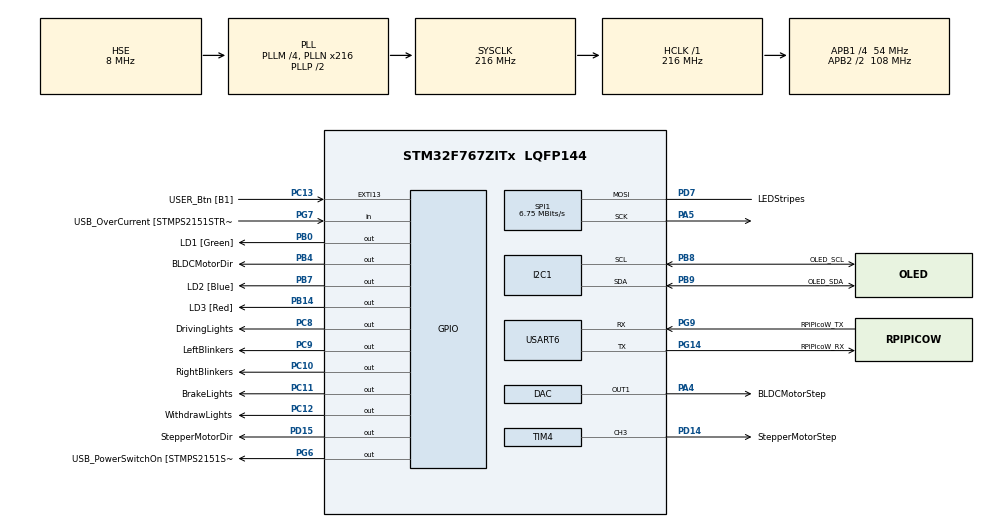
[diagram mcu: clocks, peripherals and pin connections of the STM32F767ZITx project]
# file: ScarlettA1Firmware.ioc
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Dma.Request0=SPI1_TX
Dma.SPI1_TX.0.Direction=DMA_MEMORY_TO_PERIPH
Dma.SPI1_TX.0.FIFOMode=DMA_FIFOMODE_DISABLE
Dma.SPI1_TX.0.Instance=DMA2_Stream3
Dma.SPI1_TX.0.MemDataAlignment=DMA_MDATAALIGN_BYTE
Dma.SPI1_TX.0.MemInc=DMA_MINC_ENABLE
Dma.SPI1_TX.0.Mode=DMA_NORMAL
Dma.SPI1_TX.0.PeriphDataAlignment=DMA_PDATAALIGN_BYTE
Dma.SPI1_TX.0.PeriphInc=DMA_PINC_DISABLE
Dma.SPI1_TX.0.Priority=DMA_PRIORITY_LOW
FREERTOS.Tasks01=OLEDTask,8,128,StartOLEDTask,Default,NULL,Dynamic,NULL,NULL;DispatcherTask,40,128,StartDispatcherTask,Default,NULL,Dynamic,NULL,NULL;StopTask,24,128,StartStopTask,Default,NULL,Dynamic,NULL,NULL;DrivingLightsTa,24,128,StartDrivingLightsTask,Default,NULL,Dynamic,NULL,NULL;LEDStripesTask,24,128,StartLEDStripesTask,Default,NULL,Dynamic,NULL,NULL;LeftBlinkersTas,24,128,StartLeftBlinkersTask,Default,NULL,Dynamic,NULL,NULL;RightBlinkersTa,24,128,StartRightBlinkersTask,Default,NULL,Dynamic,NULL,NULL;ParkLeftTask,24,128,StartParkLeftTask,Default,NULL,Dynamic,NULL,NULL;ParkRightTask,24,128,StartParkRightTask,Default,NULL,Dynamic,NULL,NULL;AccelerateTask,24,128,StartAccelerateTask,Default,NULL,Dynamic,NULL,NULL;DecelerateTask,24,128,StartDecelerateTask,Default,NULL,Dynamic,NULL,NULL;TurnLeftTask,32,128,StartTurnLeftTask,Default,NULL,Dynamic,NULL,NULL;TurnRightTask,32,128,StartTurnRightTask,Default,NULL,Dynamic,NULL,NULL;ConnectionTask,24,128,StartConnectionTask,Default,NULL,Dynamic,NULL,NULL;BrakeLightsTask,24,128,StartBrakeLightsTask,Default,NULL,Dynamic,NULL,NULL;WithdrawLightsT,24,128,StartWithdrawLightsTask,Default,NULL,Dynamic,NULL,NULL;ResumeFromStopT,24,128,StartResumeFromStopTask,Default,NULL,Dynamic,NULL,NULL
FREERTOS.Timers01=ConnectionTaskTimer,CallbackConnectionTaskTimer,osTimerOnce,Default,NULL,Dynamic,NULL
FREERTOS.configUSE_NEWLIB_REENTRANT=1
I2C1.Timing=0x20404768
Mcu.Family=STM32F7
Mcu.Name=STM32F767ZITx
Mcu.Package=LQFP144
NVIC.DMA2_Stream3_IRQn=true\:5\:0\:false\:false\:true\:true\:false\:true\:true
NVIC.PriorityGroup=NVIC_PRIORITYGROUP_4
NVIC.TIM6_DAC_IRQn=true\:5\:0\:false\:false\:true\:false\:false\:true\:true
NVIC.TimeBase=TIM6_DAC_IRQn
NVIC.TimeBaseIP=TIM6
NVIC.USART6_IRQn=true\:5\:0\:false\:false\:true\:true\:true\:true\:true
PA1.GPIO_Label=RMII_REF_CLK [LAN8742A-CZ-TR_REFCLK0]
PA1.Signal=ETH_REF_CLK
PA10.GPIO_Label=USB_ID
PA10.Signal=USB_OTG_FS_ID
PA11.GPIO_Label=USB_DM
PA11.Signal=USB_OTG_FS_DM
PA12.GPIO_Label=USB_DP
PA12.Signal=USB_OTG_FS_DP
PA13.GPIO_Label=TMS
PA13.Signal=SYS_JTMS-SWDIO
PA14.GPIO_Label=TCK
PA14.Signal=SYS_JTCK-SWCLK
PA2.GPIO_Label=RMII_MDIO [LAN8742A-CZ-TR_MDIO]
PA2.Signal=ETH_MDIO
PA4.GPIO_Label=BLDCMotorStep
PA4.Signal=COMP_DAC1_group
PA5.Mode=Simplex_Bidirectional_Master
PA5.Signal=SPI1_SCK
PA7.GPIO_Label=RMII_CRS_DV [LAN8742A-CZ-TR_CRS_DV]
PA7.Signal=ETH_CRS_DV
PA8.GPIO_Label=USB_SOF [TP1]
PA8.Signal=USB_OTG_FS_SOF
PA9.GPIO_Label=USB_VBUS
PA9.Signal=USB_OTG_FS_VBUS
PB0.GPIO_Label=LD1 [Green]
PB0.Signal=GPIO_Output
PB13.GPIO_Label=RMII_TXD1 [LAN8742A-CZ-TR_TXD1]
PB13.Signal=ETH_TXD1
PB14.GPIO_Label=LD3 [Red]
PB14.Signal=GPIO_Output
PB3.GPIO_Label=SW0
PB3.Signal=SYS_JTDO-SWO
PB4.GPIO_Label=BLDCMotorDir
PB4.Signal=GPIO_Output
PB7.GPIO_Label=LD2 [Blue]
PB7.Signal=GPIO_Output
PB8.GPIO_Label=OLED_SCL
PB8.Mode=I2C
PB8.Signal=I2C1_SCL
PB9.GPIO_Label=OLED_SDA
PB9.Mode=I2C
PB9.Signal=I2C1_SDA
PC1.GPIO_Label=RMII_MDC [LAN8742A-CZ-TR_MDC]
PC1.Signal=ETH_MDC
PC10.GPIO_Label=RightBlinkers
PC10.Signal=GPIO_Output
PC11.GPIO_Label=BrakeLights
PC11.Signal=GPIO_Output
PC12.GPIO_Label=WithdrawLights
PC12.Signal=GPIO_Output
PC13.GPIO_Label=USER_Btn [B1]
PC13.Signal=GPXTI13
PC14/OSC32_IN.Signal=RCC_OSC32_IN
PC15/OSC32_OUT.Signal=RCC_OSC32_OUT
PC4.GPIO_Label=RMII_RXD0 [LAN8742A-CZ-TR_RXD0]
PC4.Signal=ETH_RXD0
PC5.GPIO_Label=RMII_RXD1 [LAN8742A-CZ-TR_RXD1]
PC5.Signal=ETH_RXD1
PC8.GPIO_Label=DrivingLights
PC8.Signal=GPIO_Output
PC9.GPIO_Label=LeftBlinkers
PC9.Signal=GPIO_Output
PD14.GPIO_Label=StepperMotorStep
PD14.Signal=S_TIM4_CH3
PD15.GPIO_Label=StepperMotorDir
PD15.Signal=GPIO_Output
PD7.GPIO_Label=LEDStripes
PD7.Mode=Simplex_Bidirectional_Master
PD7.Signal=SPI1_MOSI
PD8.GPIO_Label=STLK_RX [STM32F103CBT6_PA3]
PD8.Signal=USART3_TX
PD9.GPIO_Label=STLK_TX [STM32F103CBT6_PA2]
PD9.Signal=USART3_RX
PG11.GPIO_Label=RMII_TX_EN [LAN8742A-CZ-TR_TXEN]
PG11.Signal=ETH_TX_EN
PG13.GPIO_Label=RMII_TXD0 [LAN8742A-CZ-TR_TXD0]
PG13.Signal=ETH_TXD0
PG14.GPIO_Label=RPiPicoW_RX
PG14.Mode=Asynchronous
PG14.Signal=USART6_TX
PG6.GPIO_Label=USB_PowerSwitchOn [STMPS2151STR_EN]
PG6.Signal=GPIO_Output
PG7.GPIO_Label=USB_OverCurrent [STMPS2151STR_FAULT]
PG7.Signal=GPIO_Input
PG9.GPIO_Label=RPiPicoW_TX
PG9.Mode=Asynchronous
PG9.Signal=USART6_RX
PH0/OSC_IN.GPIO_Label=MCO [STM32F103CBT6_PA8]
PH0/OSC_IN.Mode=HSE-External-Clock-Source
PH0/OSC_IN.Signal=RCC_OSC_IN
PH1/OSC_OUT.Mode=HSE-External-Clock-Source
PH1/OSC_OUT.Signal=RCC_OSC_OUT
ProjectManager.HeapSize=0x200
ProjectManager.StackSize=0x400
ProjectManager.TargetToolchain=STM32CubeIDE
RCC.48MHZClocksFreq_Value=24000000
RCC.AHBFreq_Value=216000000
RCC.APB1CLKDivider=RCC_HCLK_DIV4
RCC.APB1Freq_Value=54000000
RCC.APB1TimFreq_Value=108000000
RCC.APB2CLKDivider=RCC_HCLK_DIV2
RCC.APB2Freq_Value=108000000
RCC.APB2TimFreq_Value=216000000
RCC.CortexFreq_Value=216000000
RCC.HCLKFreq_Value=216000000
RCC.HSE_VALUE=8000000
RCC.HSI_VALUE=16000000
RCC.LSE_VALUE=32768
RCC.PLLM=4
RCC.PLLMUL=RCC_PLL_MUL9
RCC.PLLN=216
RCC.PLLSourceVirtual=RCC_PLLSOURCE_HSE
RCC.PRESCALERUSB=RCC_USBCLKSOURCE_PLL_DIV1_5
RCC.SYSCLKFreq_VALUE=216000000
RCC.SYSCLKSource=RCC_SYSCLKSOURCE_PLLCLK
RCC.SYSCLKSourceVirtual=RCC_SYSCLKSOURCE_PLLCLK
RCC.USBFreq_Value=216000000
RCC.VCOOutputFreq_Value=432000000
SH.COMP_DAC1_group.0=DAC_OUT1,DAC_OUT1
SH.S_TIM4_CH3.0=TIM4_CH3,PWM Generation3 CH3
SPI1.BaudRatePrescaler=SPI_BAUDRATEPRESCALER_16
SPI1.CalculateBaudRate=6.75 MBits/s
SPI1.DataSize=SPI_DATASIZE_8BIT
SPI1.Direction=SPI_DIRECTION_1LINE
SPI1.Mode=SPI_MODE_MASTER
SPI1.VirtualType=VM_MASTER
TIM4.Channel-PWM\ Generation3\ CH3=TIM_CHANNEL_3
TIM4.Period=1000-1
TIM4.Prescaler=64-1
USART6.VirtualMode-Asynchronous=VM_ASYNC
VP_FREERTOS_VS_CMSIS_V2.Mode=CMSIS_V2
VP_SYS_VS_tim6.Mode=TIM6
board=NUCLEO-F767ZI

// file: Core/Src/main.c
/* USER CODE BEGIN Header */
/**
  ******************************************************************************
  * @file           : main.c
  * @brief          : Main program body
  ******************************************************************************
  * @attention
  *
  * Copyright (c) 2024 STMicroelectronics.
  * All rights reserved.
  *
  * This software is licensed under terms that can be found in the LICENSE file
  * in the root directory of this software component.
  * If no LICENSE file comes with this software, it is provided AS-IS.
  *
  ******************************************************************************
  */
/* USER CODE END Header */
#include "main.h"
#include "cmsis_os.h"
#include "dac.h"
#include "dma.h"
#include "i2c.h"
#include "spi.h"
#include "tim.h"
#include "usart.h"
#include "gpio.h"

/* USER CODE BEGIN PV */
extern void vSetVarulMaxPRIGROUPValue( void );
/* USER CODE END PV */

void SystemClock_Config(void);
void MX_FREERTOS_Init(void);

/* USER CODE BEGIN 0 */
extern uint8_t RxBuffer[];
extern osThreadId_t DispatcherTaskHandle;
/* USER CODE END 0 */

int main(void)
{

  /* MCU Configuration--------------------------------------------------------*/

  /* Reset of all peripherals, Initializes the Flash interface and the Systick. */
  HAL_Init();

  /* Configure the system clock */
  SystemClock_Config();

  /* Initialize all configured peripherals */
  MX_GPIO_Init();
  MX_DMA_Init();
  MX_SPI1_Init();
  MX_DAC_Init();
  MX_I2C1_Init();
  MX_TIM4_Init();
  MX_USART6_UART_Init();
  /* USER CODE BEGIN 2 */
  SEGGER_SYSVIEW_Conf();
  vSetVarulMaxPRIGROUPValue();
  SEGGER_SYSVIEW_Start();
  HAL_UART_Receive_IT(&huart6, RxBuffer, 1);
  HAL_DAC_Start(&hdac, DAC1_CHANNEL_1);
  HAL_TIM_PWM_Start(&htim4, TIM_CHANNEL_3);
  /* USER CODE END 2 */

  /* Init scheduler */
  osKernelInitialize();  /* Call init function for freertos objects (in freertos.c) */
  MX_FREERTOS_Init();

  /* Start scheduler */
  osKernelStart();

  /* We should never get here as control is now taken by the scheduler */
  /* Infinite loop */
  while (1)
  {

  }
}

void SystemClock_Config(void)
{
  RCC_OscInitTypeDef RCC_OscInitStruct = {0};
  RCC_ClkInitTypeDef RCC_ClkInitStruct = {0};

  /** Configure the main internal regulator output voltage
  */
  __HAL_RCC_PWR_CLK_ENABLE();
  __HAL_PWR_VOLTAGESCALING_CONFIG(PWR_REGULATOR_VOLTAGE_SCALE1);

  /** Initializes the RCC Oscillators according to the specified parameters
  * in the RCC_OscInitTypeDef structure.
  */
  RCC_OscInitStruct.OscillatorType = RCC_OSCILLATORTYPE_HSE;
  RCC_OscInitStruct.HSEState = RCC_HSE_BYPASS;
  RCC_OscInitStruct.PLL.PLLState = RCC_PLL_ON;
  RCC_OscInitStruct.PLL.PLLSource = RCC_PLLSOURCE_HSE;
  RCC_OscInitStruct.PLL.PLLM = 4;
  RCC_OscInitStruct.PLL.PLLN = 216;
  RCC_OscInitStruct.PLL.PLLP = RCC_PLLP_DIV2;
  RCC_OscInitStruct.PLL.PLLQ = 2;
  RCC_OscInitStruct.PLL.PLLR = 2;
  if (HAL_RCC_OscConfig(&RCC_OscInitStruct) != HAL_OK)
  {
    Error_Handler();
  }

  /** Activate the Over-Drive mode
  */
  if (HAL_PWREx_EnableOverDrive() != HAL_OK)
  {
    Error_Handler();
  }

  /** Initializes the CPU, AHB and APB buses clocks
  */
  RCC_ClkInitStruct.ClockType = RCC_CLOCKTYPE_HCLK|RCC_CLOCKTYPE_SYSCLK
                              |RCC_CLOCKTYPE_PCLK1|RCC_CLOCKTYPE_PCLK2;
  RCC_ClkInitStruct.SYSCLKSource = RCC_SYSCLKSOURCE_PLLCLK;
  RCC_ClkInitStruct.AHBCLKDivider = RCC_SYSCLK_DIV1;
  RCC_ClkInitStruct.APB1CLKDivider = RCC_HCLK_DIV4;
  RCC_ClkInitStruct.APB2CLKDivider = RCC_HCLK_DIV2;

  if (HAL_RCC_ClockConfig(&RCC_ClkInitStruct, FLASH_LATENCY_7) != HAL_OK)
  {
    Error_Handler();
  }
}

/* USER CODE BEGIN 4 */
void HAL_UART_RxCpltCallback(UART_HandleTypeDef *huart6x) {
	portYIELD_FROM_ISR(xTaskResumeFromISR(DispatcherTaskHandle));
	HAL_UART_Receive_IT(&huart6, RxBuffer, 1);					// Used for "opening" ST MCU for future interrupts on RX
}
/* USER CODE END 4 */

void HAL_TIM_PeriodElapsedCallback(TIM_HandleTypeDef *htim)
{
  if (htim->Instance == TIM6) {
    HAL_IncTick();
  }
}

void Error_Handler(void)
{
  __disable_irq();
  while (1)
  {
  }
}

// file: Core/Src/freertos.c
/* USER CODE BEGIN Header */
/**
  ******************************************************************************
  * File Name          : freertos.c
  * Description        : Code for freertos applications
  ******************************************************************************
  * @attention
  *
  * Copyright (c) 2024 STMicroelectronics.
  * All rights reserved.
  *
  * This software is licensed under terms that can be found in the LICENSE file
  * in the root directory of this software component.
  * If no LICENSE file comes with this software, it is provided AS-IS.
  *
  ******************************************************************************
  */
/* USER CODE END Header */

#include "FreeRTOS.h"
#include "task.h"
#include "main.h"
#include "cmsis_os.h"

/* USER CODE BEGIN Includes */
/* System libraries */
#include <stdio.h>

/* External libraries */
#include "ssd1306.h"
#include "ssd1306_fonts.h"
#include "ssd1306_tests.h"

#include "ws2812b.h"

/* Own headers */
#include "firmwareConfig.h"
#include "commonStrings.h"
#include "commonVariables.h"
#include "commonFunctions.h"
/* USER CODE END Includes */

/* USER CODE BEGIN Variables */
/* LED stripes */
extern SPI_HandleTypeDef hspi1;
/* USER CODE END Variables */
/* Definitions for OLEDTask */
osThreadId_t OLEDTaskHandle;
const osThreadAttr_t OLEDTask_attributes = {
  .name = "OLEDTask",
  .stack_size = 128 * 4,
  .priority = (osPriority_t) osPriorityLow,
};
/* Definitions for DispatcherTask */
osThreadId_t DispatcherTaskHandle;
const osThreadAttr_t DispatcherTask_attributes = {
  .name = "DispatcherTask",
  .stack_size = 128 * 4,
  .priority = (osPriority_t) osPriorityHigh,
};
/* Definitions for StopTask */
osThreadId_t StopTaskHandle;
const osThreadAttr_t StopTask_attributes = {
  .name = "StopTask",
  .stack_size = 128 * 4,
  .priority = (osPriority_t) osPriorityNormal,
};
/* Definitions for DrivingLightsTa */
osThreadId_t DrivingLightsTaHandle;
const osThreadAttr_t DrivingLightsTa_attributes = {
  .name = "DrivingLightsTa",
  .stack_size = 128 * 4,
  .priority = (osPriority_t) osPriorityNormal,
};
/* Definitions for LEDStripesTask */
osThreadId_t LEDStripesTaskHandle;
const osThreadAttr_t LEDStripesTask_attributes = {
  .name = "LEDStripesTask",
  .stack_size = 128 * 4,
  .priority = (osPriority_t) osPriorityNormal,
};
/* Definitions for LeftBlinkersTas */
osThreadId_t LeftBlinkersTasHandle;
const osThreadAttr_t LeftBlinkersTas_attributes = {
  .name = "LeftBlinkersTas",
  .stack_size = 128 * 4,
  .priority = (osPriority_t) osPriorityNormal,
};
/* Definitions for RightBlinkersTa */
osThreadId_t RightBlinkersTaHandle;
const osThreadAttr_t RightBlinkersTa_attributes = {
  .name = "RightBlinkersTa",
  .stack_size = 128 * 4,
  .priority = (osPriority_t) osPriorityNormal,
};
/* Definitions for ParkLeftTask */
osThreadId_t ParkLeftTaskHandle;
const osThreadAttr_t ParkLeftTask_attributes = {
  .name = "ParkLeftTask",
  .stack_size = 128 * 4,
  .priority = (osPriority_t) osPriorityNormal,
};
/* Definitions for ParkRightTask */
osThreadId_t ParkRightTaskHandle;
const osThreadAttr_t ParkRightTask_attributes = {
  .name = "ParkRightTask",
  .stack_size = 128 * 4,
  .priority = (osPriority_t) osPriorityNormal,
};
/* Definitions for AccelerateTask */
osThreadId_t AccelerateTaskHandle;
const osThreadAttr_t AccelerateTask_attributes = {
  .name = "AccelerateTask",
  .stack_size = 128 * 4,
  .priority = (osPriority_t) osPriorityNormal,
};
/* Definitions for DecelerateTask */
osThreadId_t DecelerateTaskHandle;
const osThreadAttr_t DecelerateTask_attributes = {
  .name = "DecelerateTask",
  .stack_size = 128 * 4,
  .priority = (osPriority_t) osPriorityNormal,
};
/* Definitions for TurnLeftTask */
osThreadId_t TurnLeftTaskHandle;
const osThreadAttr_t TurnLeftTask_attributes = {
  .name = "TurnLeftTask",
  .stack_size = 128 * 4,
  .priority = (osPriority_t) osPriorityAboveNormal,
};
/* Definitions for TurnRightTask */
osThreadId_t TurnRightTaskHandle;
const osThreadAttr_t TurnRightTask_attributes = {
  .name = "TurnRightTask",
  .stack_size = 128 * 4,
  .priority = (osPriority_t) osPriorityAboveNormal,
};
/* Definitions for ConnectionTask */
osThreadId_t ConnectionTaskHandle;
const osThreadAttr_t ConnectionTask_attributes = {
  .name = "ConnectionTask",
  .stack_size = 128 * 4,
  .priority = (osPriority_t) osPriorityNormal,
};
/* Definitions for BrakeLightsTask */
osThreadId_t BrakeLightsTaskHandle;
const osThreadAttr_t BrakeLightsTask_attributes = {
  .name = "BrakeLightsTask",
  .stack_size = 128 * 4,
  .priority = (osPriority_t) osPriorityNormal,
};
/* Definitions for WithdrawLightsT */
osThreadId_t WithdrawLightsTHandle;
const osThreadAttr_t WithdrawLightsT_attributes = {
  .name = "WithdrawLightsT",
  .stack_size = 128 * 4,
  .priority = (osPriority_t) osPriorityNormal,
};
/* Definitions for ResumeFromStopT */
osThreadId_t ResumeFromStopTHandle;
const osThreadAttr_t ResumeFromStopT_attributes = {
  .name = "ResumeFromStopT",
  .stack_size = 128 * 4,
  .priority = (osPriority_t) osPriorityNormal,
};
/* Definitions for ConnectionTaskTimer */
osTimerId_t ConnectionTaskTimerHandle;
const osTimerAttr_t ConnectionTaskTimer_attributes = {
  .name = "ConnectionTaskTimer"
};

void StartOLEDTask(void *argument);
void StartDispatcherTask(void *argument);
void StartStopTask(void *argument);
void StartDrivingLightsTask(void *argument);
void StartLEDStripesTask(void *argument);
void StartLeftBlinkersTask(void *argument);
void StartRightBlinkersTask(void *argument);
void StartParkLeftTask(void *argument);
void StartParkRightTask(void *argument);
void StartAccelerateTask(void *argument);
void StartDecelerateTask(void *argument);
void StartTurnLeftTask(void *argument);
void StartTurnRightTask(void *argument);
void StartConnectionTask(void *argument);
void StartBrakeLightsTask(void *argument);
void StartWithdrawLightsTask(void *argument);
void StartResumeFromStopTask(void *argument);
void CallbackConnectionTaskTimer(void *argument);

void MX_FREERTOS_Init(void); /* (MISRA C 2004 rule 8.1) */

void MX_FREERTOS_Init(void) {

  /* Create the timer(s) */
  /* creation of ConnectionTaskTimer */
  ConnectionTaskTimerHandle = osTimerNew(CallbackConnectionTaskTimer, osTimerOnce, NULL, &ConnectionTaskTimer_attributes);

  /* Create the thread(s) */
  /* creation of OLEDTask */
  OLEDTaskHandle = osThreadNew(StartOLEDTask, NULL, &OLEDTask_attributes);

  /* creation of DispatcherTask */
  DispatcherTaskHandle = osThreadNew(StartDispatcherTask, NULL, &DispatcherTask_attributes);

  /* creation of StopTask */
  StopTaskHandle = osThreadNew(StartStopTask, NULL, &StopTask_attributes);

  /* creation of DrivingLightsTa */
  DrivingLightsTaHandle = osThreadNew(StartDrivingLightsTask, NULL, &DrivingLightsTa_attributes);

  /* creation of LEDStripesTask */
  LEDStripesTaskHandle = osThreadNew(StartLEDStripesTask, NULL, &LEDStripesTask_attributes);

  /* creation of LeftBlinkersTas */
  LeftBlinkersTasHandle = osThreadNew(StartLeftBlinkersTask, NULL, &LeftBlinkersTas_attributes);

  /* creation of RightBlinkersTa */
  RightBlinkersTaHandle = osThreadNew(StartRightBlinkersTask, NULL, &RightBlinkersTa_attributes);

  /* creation of ParkLeftTask */
  ParkLeftTaskHandle = osThreadNew(StartParkLeftTask, NULL, &ParkLeftTask_attributes);

  /* creation of ParkRightTask */
  ParkRightTaskHandle = osThreadNew(StartParkRightTask, NULL, &ParkRightTask_attributes);

  /* creation of AccelerateTask */
  AccelerateTaskHandle = osThreadNew(StartAccelerateTask, NULL, &AccelerateTask_attributes);

  /* creation of DecelerateTask */
  DecelerateTaskHandle = osThreadNew(StartDecelerateTask, NULL, &DecelerateTask_attributes);

  /* creation of TurnLeftTask */
  TurnLeftTaskHandle = osThreadNew(StartTurnLeftTask, NULL, &TurnLeftTask_attributes);

  /* creation of TurnRightTask */
  TurnRightTaskHandle = osThreadNew(StartTurnRightTask, NULL, &TurnRightTask_attributes);

  /* creation of ConnectionTask */
  ConnectionTaskHandle = osThreadNew(StartConnectionTask, NULL, &ConnectionTask_attributes);

  /* creation of BrakeLightsTask */
  BrakeLightsTaskHandle = osThreadNew(StartBrakeLightsTask, NULL, &BrakeLightsTask_attributes);

  /* creation of WithdrawLightsT */
  WithdrawLightsTHandle = osThreadNew(StartWithdrawLightsTask, NULL, &WithdrawLightsT_attributes);

  /* creation of ResumeFromStopT */
  ResumeFromStopTHandle = osThreadNew(StartResumeFromStopTask, NULL, &ResumeFromStopT_attributes);

}

void StartOLEDTask(void *argument)
{
  /* USER CODE BEGIN StartOLEDTask */
	// Initiate display
	ssd1306_Init();
	uint8_t y = 0;
	ssd1306_Fill(Black);

	// Set header
	ssd1306_SetCursor(2, y);
	ssd1306_WriteString(headerBootingUp, Font_7x10, White);
	y += 30;

	// Set body
	ssd1306_SetCursor(2, y);
	ssd1306_WriteString(bodyVersion, Font_11x18, White);
	ssd1306_WriteString(versionName, Font_11x18, White);
	y += 36;

	// Show content
	ssd1306_UpdateScreen();
	y = 0;

	// Delay
	osDelay(STARTUP_DURATION);

  /* Infinite loop */
  for(;;)
  {
	  // Clear screen
	  ssd1306_Fill(Black);

	  if(isConnected) {
		  // Set header
		  ssd1306_SetCursor(2, y);
		  ssd1306_WriteString(headerConnected, Font_7x10, White);
		  y += 30;

		  // Set body
		  ssd1306_SetCursor(2, y);
		  ssd1306_WriteString(bodyLogotype, Font_11x18, White);
		  y += 36;
	  } else {
		  // Set header
		  ssd1306_SetCursor(2, y);
		  ssd1306_WriteString(headerDisconnected, Font_7x10, White);
		  y += 30;

		  // Set body
		  ssd1306_SetCursor(2, y);
		  ssd1306_WriteString(bodyLogotype, Font_11x18, White);
		  y += 36;
	  }

	  // Show content
	  ssd1306_UpdateScreen();
	  y = 0;

	  vTaskSuspend(NULL);
  }
  /* USER CODE END StartOLEDTask */
}

void StartDispatcherTask(void *argument)
{
  /* USER CODE BEGIN StartDispatcherTask */
  /* Infinite loop */
  for(;;)
  {
	  vTaskSuspend(NULL);

	  switch(RxBuffer[0]) {
		case 0x01:		// Stop vehicle.
			vTaskResume(StopTaskHandle);
			break;
		case 0x02:		// Toggle driving lights.
			vTaskResume(DrivingLightsTaHandle);
			break;
		case 0x03:		// Toggle RGB stripe.
			vTaskResume(LEDStripesTaskHandle);
			break;
		case 0x04:		// Turn left blinkers on.
			vTaskResume(LeftBlinkersTasHandle);
			break;
		case 0x05:		// Turn right blinkers on.
			vTaskResume(RightBlinkersTaHandle);
			break;
		case 0x06:		// Toggle parking to the left.
			vTaskResume(ParkLeftTaskHandle);
			break;
		case 0x07:		// Toggle parking to the right.
			vTaskResume(ParkRightTaskHandle);
			break;
		case 0x0B:		// Accelerate.
			vTaskResume(AccelerateTaskHandle);
			break;
		case 0x0C:		// Decelerate.
			vTaskResume(DecelerateTaskHandle);
			break;
		case 0x0D:		// Turn left.
			vTaskResume(TurnLeftTaskHandle);
			break;
		case 0x0E:		// Turn right.
			vTaskResume(TurnRightTaskHandle);
			break;
		default:		// Acknowledge connection.
			vTaskResume(ConnectionTaskHandle);
		}
  }
  /* USER CODE END StartDispatcherTask */
}

void StartStopTask(void *argument)
{
  /* USER CODE BEGIN StartStopTask */
  /* Infinite loop */
  for(;;)
  {
	  vTaskSuspend(NULL);

	  // Stop parking if applicable
	  vTaskSuspend(ParkLeftTaskHandle);
	  vTaskSuspend(ParkRightTaskHandle);

	  // Stop BLDC motor
	  sliderAccelerateDeceleratePreviousValue = sliderAccelerateDecelerateCurrentValue;
	  sliderAccelerateDecelerateCurrentValue = 0;
	  setBLDCMotorSpeed();

	  // Set LED stripes
	  isStopped = true;
	  stripesEffect = STOP;
	  ommitToggle = true;
	  internalFunctionCall = true;
	  vTaskResume(LEDStripesTaskHandle);

	  // Home stepper motor
	  moveStepperMotorUntil(0);

	  // Reset parking state
	  isParking = false;
	  vTaskDelete(ParkLeftTaskHandle);
	  vTaskDelete(ParkRightTaskHandle);
	  ParkLeftTaskHandle = osThreadNew(StartParkLeftTask, NULL, &ParkLeftTask_attributes);
	  ParkRightTaskHandle = osThreadNew(StartParkRightTask, NULL, &ParkRightTask_attributes);

	  // Turn off all the lights
	  HAL_GPIO_WritePin(BrakeLights_GPIO_Port, BrakeLights_Pin, RESET);
	  HAL_GPIO_WritePin(WithdrawLights_GPIO_Port, WithdrawLights_Pin, RESET);
  }
  /* USER CODE END StartStopTask */
}

void StartDrivingLightsTask(void *argument)
{
  /* USER CODE BEGIN StartDrivingLightsTask */
  /* Infinite loop */
  for(;;)
  {
	  vTaskSuspend(NULL);

	  // Parking interrupt guard
	  if(isParking == false || internalFunctionCall == true) {
		  internalFunctionCall = false;

		  // Exit stopped state if applicable
		  if(isStopped) {
			  vTaskResume(ResumeFromStopTHandle);
		  }

		  // Driving lights effect
		  HAL_GPIO_TogglePin(DrivingLights_GPIO_Port, DrivingLights_Pin);
	  }
  }
  /* USER CODE END StartDrivingLightsTask */
}

void StartLEDStripesTask(void *argument)
{
  /* USER CODE BEGIN StartLEDStripesTask */
	// Set StripesEffect enum
	stripesEffect = NONE;

	// Transmit 4 empty bytes to ensure SDO is low
	uint8_t d[4] = {0};
	HAL_SPI_Transmit(&hspi1, d, 4, 100);

	// Create handle and configure
	ws2812b_handle_t hws2812b;

	hws2812b.config.packing = PACKING; // See macro above
	hws2812b.config.pulse_len_1 = WS2812B_PULSE_LEN_6b;
	hws2812b.config.pulse_len_0 = WS2812B_PULSE_LEN_2b;
	hws2812b.config.first_bit_0 = WS2812B_FIRST_BIT_0_ENABLED;
	hws2812b.config.prefix_len = PREFIX_LEN; // See macro above
	hws2812b.config.suffix_len = SUFFIX_LEN; // See macro above
	hws2812b.config.spi_bit_order = WS2812B_MSB_FIRST;

	// Create array of LEDs & set LED color
	ws2812b_led_t leds[LED_COUNT];
	struct DesiredStripesColor desiredStripesColor;
	setLEDStripesEffect(stripesEffect, &desiredStripesColor);
	for(int i = 0; i < LED_COUNT; i ++) {
	  leds[i].red = desiredStripesColor.red;
	  leds[i].green = desiredStripesColor.green;
	  leds[i].blue = desiredStripesColor.blue;
	}

	// Add LEDs and count to handle
	hws2812b.led_count = LED_COUNT;
	hws2812b.leds = leds;

	// Initialize the driver
	if(ws2812b_init(&hws2812b)) {
	  printf("Invalid ws2812b config! (%s)\r\n",ws2812b_error_msg);
	  while(1) {;}
	}

	// Create buffer
	uint8_t dma_buf[ws2812b_required_buffer_len(&hws2812b)];

	// Fill buffer
	ws2812b_fill_buffer(&hws2812b, dma_buf);

	// Transmit
	HAL_SPI_Transmit_DMA(&hspi1, dma_buf, ws2812b_required_buffer_len(&hws2812b));
	HAL_Delay(10); // 10ms delay

  /* Infinite loop */
  for(;;)
  {
	  vTaskSuspend(NULL);

	  // Parking interrupt guard
	  if(isParking == false || internalFunctionCall == true) {
		  internalFunctionCall = false;

		  // LED stripes effect
		  if(ommitToggle == false) {
			  if(isOn == false) {
				  isOn = true;
				  stripesEffect = DEFAULT;
			  } else {
				  isOn = false;
				  stripesEffect = NONE;
			  }
		  }
		  ommitToggle = false;

		  // Update LED color
		  setLEDStripesEffect(stripesEffect, &desiredStripesColor);
		  for(int i = 0; i < LED_COUNT; i ++) {
			  leds[i].red = desiredStripesColor.red;
			  leds[i].green = desiredStripesColor.green;
			  leds[i].blue = desiredStripesColor.blue;
		  }

		  // Add LEDs to handle
		  hws2812b.leds = leds;

		  // Fill buffer
		  ws2812b_fill_buffer(&hws2812b, dma_buf);

		  // Transmit
		  HAL_SPI_Transmit_DMA(&hspi1, dma_buf, ws2812b_required_buffer_len(&hws2812b));
		  HAL_Delay(10); // 10ms delay
	  }
  }
  /* USER CODE END StartLEDStripesTask */
}

void StartLeftBlinkersTask(void *argument)
{
  /* USER CODE BEGIN StartLeftBlinkersTask */
  /* Infinite loop */
  for(;;)
  {
	  vTaskSuspend(NULL);

	  // Parking interrupt guard
	  if(isParking == false || internalFunctionCall == true) {
		  internalFunctionCall = false;

		  // Exit stopped state if applicable
		  if(isStopped) {
			  vTaskResume(ResumeFromStopTHandle);
		  }

		  // Left blinkers effect
		  for(int i = 0; i < 6; i ++) {
			  HAL_GPIO_TogglePin(LeftBlinkers_GPIO_Port, LeftBlinkers_Pin);
			  osDelay(BLINKERS_DURATION);
		  }
	  }
  }
  /* USER CODE END StartLeftBlinkersTask */
}

void StartRightBlinkersTask(void *argument)
{
  /* USER CODE BEGIN StartRightBlinkersTask */
  /* Infinite loop */
  for(;;)
  {
	  vTaskSuspend(NULL);

	  // Parking interrupt guard
	  if(isParking == false || internalFunctionCall == true) {
		  internalFunctionCall = false;

		  // Exit stopped state if applicable
		  if(isStopped) {
			  vTaskResume(ResumeFromStopTHandle);
		  }

		  // Right blinkers effect
		  for(int i = 0; i < 6; i ++) {
			  HAL_GPIO_TogglePin(RightBlinkers_GPIO_Port, RightBlinkers_Pin);
			  osDelay(BLINKERS_DURATION);
		  }
	  }
  }
  /* USER CODE END StartRightBlinkersTask */
}

void StartParkLeftTask(void *argument)
{
  /* USER CODE BEGIN StartParkLeftTask */
  /* Infinite loop */
  for(;;)
  {
	  vTaskSuspend(NULL);

	  // Parking interrupt guard
	  if(isParking == false) {
		  // Exit stopped state if applicable
		  if(isStopped) {
			  vTaskResume(ResumeFromStopTHandle);
		  }

		  // Park to the left
		  isParking = true;
		  park(LEFT);
		  isParking = false;
	  }
  }
  /* USER CODE END StartParkLeftTask */
}

void StartParkRightTask(void *argument)
{
  /* USER CODE BEGIN StartParkRightTask */
  /* Infinite loop */
  for(;;)
  {
	  vTaskSuspend(NULL);

	  // Parking interrupt guard
	  if(isParking == false) {
		  // Exit stopped state if applicable
		  if(isStopped) {
			  vTaskResume(ResumeFromStopTHandle);
		  }

		  // Park to the right
		  isParking = true;
		  park(RIGHT);
		  isParking = false;
	  }
  }
  /* USER CODE END StartParkRightTask */
}

void StartAccelerateTask(void *argument)
{
  /* USER CODE BEGIN StartAccelerateTask */
	HAL_DAC_SetValue(&hdac, DAC1_CHANNEL_1, DAC_ALIGN_12B_R, 0.0);
  /* Infinite loop */
  for(;;)
  {
	  vTaskSuspend(NULL);

	  // Parking interrupt guard
	  if(isParking == false || internalFunctionCall == true) {
		  internalFunctionCall = false;

		  // Exit stopped state if applicable
		  if(isStopped) {
			  vTaskResume(ResumeFromStopTHandle);
		  }

		  // Accelerate if possible
		  if(sliderAccelerateDecelerateCurrentValue < 4) {
			  sliderAccelerateDeceleratePreviousValue = sliderAccelerateDecelerateCurrentValue;
			  sliderAccelerateDecelerateCurrentValue ++;
		  }
		  setBLDCMotorSpeed();

		  // Set withdraw lights appropriately
		  if(sliderAccelerateDecelerateCurrentValue >= 0) {
			  isWithdrawing = false;
			  vTaskResume(WithdrawLightsTHandle);
		  }
	  }
  }
  /* USER CODE END StartAccelerateTask */
}

void StartDecelerateTask(void *argument)
{
  /* USER CODE BEGIN StartDecelerateTask */
	HAL_DAC_SetValue(&hdac, DAC1_CHANNEL_1, DAC_ALIGN_12B_R, 0.0);
  /* Infinite loop */
  for(;;)
  {
	  vTaskSuspend(NULL);

	  // Parking interrupt guard
	  if(isParking == false || internalFunctionCall == true) {
		  internalFunctionCall = false;

		  // Exit stopped state if applicable
		  if(isStopped) {
			  vTaskResume(ResumeFromStopTHandle);
		  }

		  // Decelerate if possible
		  if(sliderAccelerateDecelerateCurrentValue > -2) {
			  sliderAccelerateDeceleratePreviousValue = sliderAccelerateDecelerateCurrentValue;
			  sliderAccelerateDecelerateCurrentValue --;
		  }
		  setBLDCMotorSpeed();

		  // Set withdraw lights appropriately
		  if(sliderAccelerateDecelerateCurrentValue >= 0) {
			  vTaskResume(BrakeLightsTaskHandle);
		  } else {
			  isWithdrawing = true;
			  vTaskResume(WithdrawLightsTHandle);
		  }
	  }
  }
  /* USER CODE END StartDecelerateTask */
}

void StartTurnLeftTask(void *argument)
{
  /* USER CODE BEGIN StartTurnLeftTask */
  /* Infinite loop */
  for(;;)
  {
	  vTaskSuspend(NULL);

	  // Parking interrupt guard
	  if(isParking == false || internalFunctionCall == true) {
		  internalFunctionCall = false;

		  // Exit stopped state if applicable
		  if(isStopped) {
			  vTaskResume(ResumeFromStopTHandle);
		  }

		  // Turn left if possible
		  if(sliderLeftRightCurrentValue > -3) {
			  sliderLeftRightPreviousValue = sliderLeftRightCurrentValue;
			  sliderLeftRightCurrentValue --;

			  moveStepperMotor(LEFT);
		  }
	  }
  }
  /* USER CODE END StartTurnLeftTask */
}

void StartTurnRightTask(void *argument)
{
  /* USER CODE BEGIN StartTurnRightTask */
  /* Infinite loop */
  for(;;)
  {
	  vTaskSuspend(NULL);

	  // Parking interrupt guard
	  if(isParking == false || internalFunctionCall == true) {
		  internalFunctionCall = false;

		  // Exit stopped state if applicable
		  if(isStopped) {
			  vTaskResume(ResumeFromStopTHandle);
		  }

		  // Turn right if possible
		  if(sliderLeftRightCurrentValue < 3) {
			  sliderLeftRightPreviousValue = sliderLeftRightCurrentValue;
			  sliderLeftRightCurrentValue ++;

			  moveStepperMotor(RIGHT);
		  }
	  }
  }
  /* USER CODE END StartTurnRightTask */
}

void StartConnectionTask(void *argument)
{
  /* USER CODE BEGIN StartConnectionTask */
  /* Infinite loop */
  for(;;)
  {
	  vTaskSuspend(NULL);

	  // Refresh connection state
	  osTimerStart(ConnectionTaskTimerHandle, (ACKNOWLEDGE_PACKETS_FREQUENCY + TIME_MARGIN));
	  isConnected = true;
	  vTaskResume(OLEDTaskHandle);
  }
  /* USER CODE END StartConnectionTask */
}

void StartBrakeLightsTask(void *argument)
{
  /* USER CODE BEGIN StartBrakeLightsTask */
  /* Infinite loop */
  for(;;)
  {
	  vTaskSuspend(NULL);

	  // Brake lights effect
	  HAL_GPIO_TogglePin(BrakeLights_GPIO_Port, BrakeLights_Pin);
	  osDelay(BRAKE_LIGHTS_DURATION);
	  HAL_GPIO_TogglePin(BrakeLights_GPIO_Port, BrakeLights_Pin);
  }
  /* USER CODE END StartBrakeLightsTask */
}

void StartWithdrawLightsTask(void *argument)
{
  /* USER CODE BEGIN StartWithdrawLightsTask */
  /* Infinite loop */
  for(;;)
  {
	  vTaskSuspend(NULL);

	  // Withdraw lights effect
	  if(isWithdrawing) {
		  HAL_GPIO_WritePin(WithdrawLights_GPIO_Port, WithdrawLights_Pin, SET);
	  } else {
		  HAL_GPIO_WritePin(WithdrawLights_GPIO_Port, WithdrawLights_Pin, RESET);
	  }
  }
  /* USER CODE END StartWithdrawLightsTask */
}

void StartResumeFromStopTask(void *argument)
{
  /* USER CODE BEGIN StartResumeFromStopTask */
  /* Infinite loop */
  for(;;)
  {
	  vTaskSuspend(NULL);

	  // Turn off LED stripes' stop effect if present
	  if(isStopped) {
		  isStopped = false;
		  if(isOn) {
			  stripesEffect = DEFAULT;
		  } else {
			  stripesEffect = NONE;
		  }
		  ommitToggle = true;
		  vTaskResume(LEDStripesTaskHandle);
	  }
  }
  /* USER CODE END StartResumeFromStopTask */
}

/* CallbackConnectionTaskTimer function */
void CallbackConnectionTaskTimer(void *argument)
{
  /* USER CODE BEGIN CallbackConnectionTaskTimer */
	vTaskResume(StopTaskHandle);
	isConnected = false;
	vTaskResume(OLEDTaskHandle);
  /* USER CODE END CallbackConnectionTaskTimer */
}
